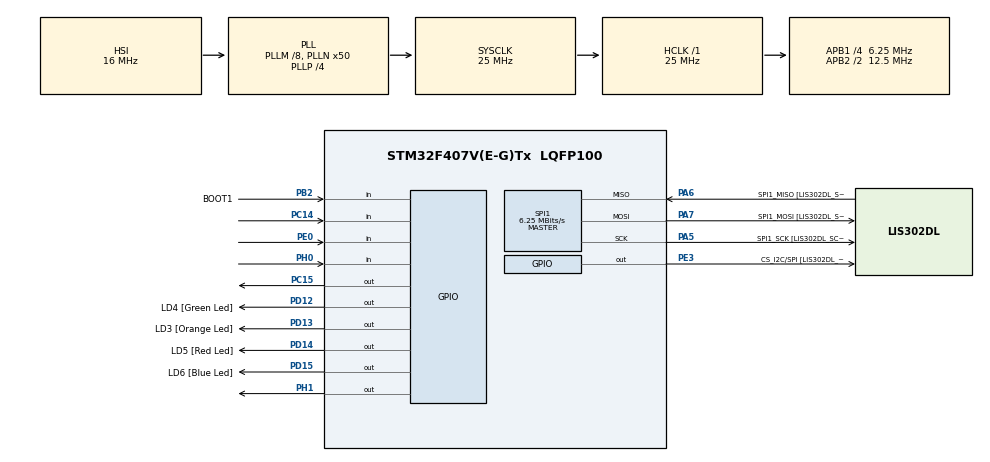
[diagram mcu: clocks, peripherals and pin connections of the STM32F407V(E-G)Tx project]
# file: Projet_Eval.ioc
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Mcu.Family=STM32F4
Mcu.Name=STM32F407V(E-G)Tx
Mcu.Package=LQFP100
NVIC.PriorityGroup=NVIC_PRIORITYGROUP_0
PA13.GPIO_Label=SWDIO
PA13.Mode=Serial_Wire
PA13.Signal=SYS_JTMS-SWDIO
PA14.GPIO_Label=SWCLK
PA14.Mode=Serial_Wire
PA14.Signal=SYS_JTCK-SWCLK
PA5.GPIO_Label=SPI1_SCK [LIS302DL_SCL/SPC]
PA5.GPIO_Mode=GPIO_MODE_AF_PP
PA5.GPIO_PuPd=GPIO_NOPULL
PA5.GPIO_Speed=GPIO_SPEED_FREQ_LOW
PA5.Mode=Full_Duplex_Master
PA5.Signal=SPI1_SCK
PA6.GPIO_Label=SPI1_MISO [LIS302DL_SDO]
PA6.GPIO_Mode=GPIO_MODE_AF_PP
PA6.GPIO_PuPd=GPIO_NOPULL
PA6.GPIO_Speed=GPIO_SPEED_FREQ_LOW
PA6.Mode=Full_Duplex_Master
PA6.Signal=SPI1_MISO
PA7.GPIO_Label=SPI1_MOSI [LIS302DL_SDA/SDI/SDO]
PA7.GPIO_Mode=GPIO_MODE_AF_PP
PA7.GPIO_PuPd=GPIO_NOPULL
PA7.GPIO_Speed=GPIO_SPEED_FREQ_LOW
PA7.Mode=Full_Duplex_Master
PA7.Signal=SPI1_MOSI
PB2.GPIO_Label=BOOT1
PB2.GPIO_Mode=GPIO_MODE_INPUT
PB2.GPIO_PuPd=GPIO_NOPULL
PB2.Signal=GPIO_Input
PB3.GPIO_Label=SWO
PB3.Signal=SYS_JTDO-SWO
PC14-OSC32_IN.Signal=GPIO_Input
PC15-OSC32_OUT.Signal=GPIO_Output
PD12.GPIO_Label=LD4 [Green Led]
PD12.GPIO_PuPd=GPIO_NOPULL
PD12.GPIO_Speed=GPIO_SPEED_FREQ_LOW
PD12.Signal=GPIO_Output
PD13.GPIO_Label=LD3 [Orange Led]
PD13.GPIO_PuPd=GPIO_NOPULL
PD13.GPIO_Speed=GPIO_SPEED_FREQ_LOW
PD13.Signal=GPIO_Output
PD14.GPIO_Label=LD5 [Red Led]
PD14.GPIO_PuPd=GPIO_NOPULL
PD14.GPIO_Speed=GPIO_SPEED_FREQ_LOW
PD14.Signal=GPIO_Output
PD15.GPIO_Label=LD6 [Blue Led]
PD15.GPIO_PuPd=GPIO_NOPULL
PD15.GPIO_Speed=GPIO_SPEED_FREQ_LOW
PD15.Signal=GPIO_Output
PE0.Signal=GPIO_Input
PE3.GPIO_Label=CS_I2C/SPI [LIS302DL_CS_I2C/SPI]
PE3.GPIO_PuPd=GPIO_NOPULL
PE3.GPIO_Speed=GPIO_SPEED_FREQ_LOW
PE3.Signal=GPIO_Output
PH0-OSC_IN.Signal=GPIO_Input
PH1-OSC_OUT.Signal=GPIO_Output
ProjectManager.HeapSize=0x200
ProjectManager.StackSize=0x400
ProjectManager.TargetToolchain=STM32CubeIDE
RCC.48MHZClocksFreq_Value=14285714.285714285
RCC.AHBFreq_Value=25000000
RCC.APB1CLKDivider=RCC_HCLK_DIV4
RCC.APB1Freq_Value=6250000
RCC.APB1TimFreq_Value=12500000
RCC.APB2CLKDivider=RCC_HCLK_DIV2
RCC.APB2Freq_Value=12500000
RCC.APB2TimFreq_Value=25000000
RCC.CortexFreq_Value=25000000
RCC.HCLKFreq_Value=25000000
RCC.HSE_VALUE=8000000
RCC.HSI_VALUE=16000000
RCC.LSE_VALUE=32768
RCC.PLLM=8
RCC.PLLN=50
RCC.PLLP=RCC_PLLP_DIV4
RCC.PLLQ=7
RCC.SYSCLKFreq_VALUE=25000000
RCC.SYSCLKSource=RCC_SYSCLKSOURCE_PLLCLK
RCC.VCOOutputFreq_Value=100000000
SPI1.BaudRatePrescaler=SPI_BAUDRATEPRESCALER_2
SPI1.CLKPolarity=SPI_POLARITY_HIGH
SPI1.CalculateBaudRate=6.25 MBits/s
SPI1.DataSize=SPI_DATASIZE_8BIT
SPI1.Direction=SPI_DIRECTION_2LINES
SPI1.Mode=SPI_MODE_MASTER
SPI1.VirtualType=VM_MASTER
board=STM32F407G-DISC1

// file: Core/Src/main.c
/* USER CODE BEGIN Header */
/**
  ******************************************************************************
  * @file           : main.c
  * @brief          : Main program body
  ******************************************************************************
  * @attention
  *
  * <h2><center>&copy; Copyright (c) 2021 STMicroelectronics.
  * All rights reserved.</center></h2>
  *
  * This software component is licensed by ST under BSD 3-Clause license,
  * the "License"; You may not use this file except in compliance with the
  * License. You may obtain a copy of the License at:
  *                        opensource.org/licenses/BSD-3-Clause
  *
  ******************************************************************************
  */
/* USER CODE END Header */
#include "main.h"
#include "YNOV_ProjetEval.h"

/* Macros for turning LEDs ON */

SPI_HandleTypeDef hspi1;

/* USER CODE BEGIN PV */
LIS3DSH_init_t LIS3DSH_initHandle;
LIS3DSH_Status_t LIS3DSH_status;
uint8_t try = 0;
float axcel = 0.0f;
/* USER CODE END PV */

void SystemClock_Config(void) ;
static void MX_GPIO_Init(void);
static void MX_SPI1_Init(void);

/* USER CODE BEGIN 0 */
int var = 0;
/* USER CODE END 0 */

int main(void)
{

  /* MCU Configuration--------------------------------------------------------*/

  /* Reset of all peripherals, Initializes the Flash interface and the Systick. */
  HAL_Init();

  /* Configure the system clock */
  SystemClock_Config();

  /* Initialize all configured peripherals */
  MX_GPIO_Init();
  MX_SPI1_Init();
  /* USER CODE BEGIN 2 */
  LIS3DSH_initHandle.ctrl4_ODR = CTRL4_ODR_800;
  LIS3DSH_initHandle.ctrl5_BW = CTRL5_BW_800;
  LIS3DSH_initHandle.ctrl5_FSCALE = CTRL5_FSCALE_2;
  LIS3DSH_initHandle.AxeX = LIS3DSH_X_ENABLED;
  LIS3DSH_initHandle.AxeY = LIS3DSH_Y_ENABLED;
  LIS3DSH_initHandle.AxeZ = LIS3DSH_Z_ENABLED;
  /* USER CODE END 2 */
  do
  {
	  try +=1;
	  LIS3DSH_status = LIS3DSH_Init(&hspi1, &LIS3DSH_initHandle);
  }while (try < 3 && LIS3DSH_status == LIS3DSH_ERROR);

  while(LIS3DSH_status == LIS3DSH_ERROR)
  {
	  HAL_GPIO_TogglePin(GPIOD, LD5_Pin);
	  HAL_Delay(500);
  }
  /* Infinite loop */
  /* USER CODE BEGIN WHILE */
  while (1)
  {
	  /*HAL_GPIO_TogglePin(GPIOD, LD4_Pin|LD3_Pin|LD5_Pin|LD6_Pin);
	  HAL_GPIO_*/
	  LIS3DSH_status == LIS3DSH_Get_Axis_X(&hspi1, &axcel);
			  if(LIS3DSH_status == LIS3DSH_OK)
			  {
				  if(axcel >= 200 )
				  {
					  HAL_GPIO_TogglePin(GPIOD, LD4_Pin);
				  }
				  else if (axcel <0) {
					  HAL_GPIO_TogglePin(GPIOD, LD3_Pin);

				}
				  else 	{
						HAL_GPIO_TogglePin(GPIOD, LD6_Pin);
						HAL_Delay(1000);

					}

			  }
			  else {
					HAL_GPIO_TogglePin(GPIOD, LD5_Pin);
					HAL_Delay(1000);
			  }
  	  }

    /* USER CODE END WHILE */

  }

void SystemClock_Config(void)
{
  RCC_OscInitTypeDef RCC_OscInitStruct = {0};
  RCC_ClkInitTypeDef RCC_ClkInitStruct = {0};

  /** Configure the main internal regulator output voltage
  */
  __HAL_RCC_PWR_CLK_ENABLE();
  __HAL_PWR_VOLTAGESCALING_CONFIG(PWR_REGULATOR_VOLTAGE_SCALE1);
  /** Initializes the RCC Oscillators according to the specified parameters
  * in the RCC_OscInitTypeDef structure.
  */
  RCC_OscInitStruct.OscillatorType = RCC_OSCILLATORTYPE_HSI;
  RCC_OscInitStruct.HSIState = RCC_HSI_ON;
  RCC_OscInitStruct.HSICalibrationValue = RCC_HSICALIBRATION_DEFAULT;
  RCC_OscInitStruct.PLL.PLLState = RCC_PLL_ON;
  RCC_OscInitStruct.PLL.PLLSource = RCC_PLLSOURCE_HSI;
  RCC_OscInitStruct.PLL.PLLM = 8;
  RCC_OscInitStruct.PLL.PLLN = 50;
  RCC_OscInitStruct.PLL.PLLP = RCC_PLLP_DIV4;
  RCC_OscInitStruct.PLL.PLLQ = 7;
  if (HAL_RCC_OscConfig(&RCC_OscInitStruct) != HAL_OK)
  {
    Error_Handler();
  }
  /** Initializes the CPU, AHB and APB buses clocks
  */
  RCC_ClkInitStruct.ClockType = RCC_CLOCKTYPE_HCLK|RCC_CLOCKTYPE_SYSCLK
                              |RCC_CLOCKTYPE_PCLK1|RCC_CLOCKTYPE_PCLK2;
  RCC_ClkInitStruct.SYSCLKSource = RCC_SYSCLKSOURCE_PLLCLK;
  RCC_ClkInitStruct.AHBCLKDivider = RCC_SYSCLK_DIV1;
  RCC_ClkInitStruct.APB1CLKDivider = RCC_HCLK_DIV4;
  RCC_ClkInitStruct.APB2CLKDivider = RCC_HCLK_DIV2;

  if (HAL_RCC_ClockConfig(&RCC_ClkInitStruct, FLASH_LATENCY_0) != HAL_OK)
  {
    Error_Handler();
  }
}

static void MX_SPI1_Init(void)
{

  /* SPI1 parameter configuration*/
  hspi1.Instance = SPI1;
  hspi1.Init.Mode = SPI_MODE_MASTER;
  hspi1.Init.Direction = SPI_DIRECTION_2LINES;
  hspi1.Init.DataSize = SPI_DATASIZE_8BIT;
  hspi1.Init.CLKPolarity = SPI_POLARITY_HIGH;
  hspi1.Init.CLKPhase = SPI_PHASE_1EDGE;
  hspi1.Init.NSS = SPI_NSS_SOFT;
  hspi1.Init.BaudRatePrescaler = SPI_BAUDRATEPRESCALER_2;
  hspi1.Init.FirstBit = SPI_FIRSTBIT_MSB;
  hspi1.Init.TIMode = SPI_TIMODE_DISABLE;
  hspi1.Init.CRCCalculation = SPI_CRCCALCULATION_DISABLE;
  hspi1.Init.CRCPolynomial = 10;
  if (HAL_SPI_Init(&hspi1) != HAL_OK)
  {
    Error_Handler();
  }

}

static void MX_GPIO_Init(void)
{
  GPIO_InitTypeDef GPIO_InitStruct = {0};

  /* GPIO Ports Clock Enable */
  __HAL_RCC_GPIOE_CLK_ENABLE();
  __HAL_RCC_GPIOC_CLK_ENABLE();
  __HAL_RCC_GPIOH_CLK_ENABLE();
  __HAL_RCC_GPIOA_CLK_ENABLE();
  __HAL_RCC_GPIOB_CLK_ENABLE();
  __HAL_RCC_GPIOD_CLK_ENABLE();

  /*Configure GPIO pin Output Level */
  HAL_GPIO_WritePin(CS_I2C_SPI_GPIO_Port, CS_I2C_SPI_Pin, GPIO_PIN_RESET);

  /*Configure GPIO pin Output Level */
  HAL_GPIO_WritePin(GPIOC, GPIO_PIN_15, GPIO_PIN_RESET);

  /*Configure GPIO pin Output Level */
  HAL_GPIO_WritePin(GPIOH, GPIO_PIN_1, GPIO_PIN_RESET);

  /*Configure GPIO pin Output Level */
  HAL_GPIO_WritePin(GPIOD, LD4_Pin|LD3_Pin|LD5_Pin|LD6_Pin, GPIO_PIN_RESET);

  /*Configure GPIO pin : CS_I2C_SPI_Pin */
  GPIO_InitStruct.Pin = CS_I2C_SPI_Pin;
  GPIO_InitStruct.Mode = GPIO_MODE_OUTPUT_PP;
  GPIO_InitStruct.Pull = GPIO_NOPULL;
  GPIO_InitStruct.Speed = GPIO_SPEED_FREQ_LOW;
  HAL_GPIO_Init(CS_I2C_SPI_GPIO_Port, &GPIO_InitStruct);

  /*Configure GPIO pin : PC14 */
  GPIO_InitStruct.Pin = GPIO_PIN_14;
  GPIO_InitStruct.Mode = GPIO_MODE_INPUT;
  GPIO_InitStruct.Pull = GPIO_NOPULL;
  HAL_GPIO_Init(GPIOC, &GPIO_InitStruct);

  /*Configure GPIO pin : PC15 */
  GPIO_InitStruct.Pin = GPIO_PIN_15;
  GPIO_InitStruct.Mode = GPIO_MODE_OUTPUT_PP;
  GPIO_InitStruct.Pull = GPIO_NOPULL;
  GPIO_InitStruct.Speed = GPIO_SPEED_FREQ_LOW;
  HAL_GPIO_Init(GPIOC, &GPIO_InitStruct);

  /*Configure GPIO pin : PH0 */
  GPIO_InitStruct.Pin = GPIO_PIN_0;
  GPIO_InitStruct.Mode = GPIO_MODE_INPUT;
  GPIO_InitStruct.Pull = GPIO_NOPULL;
  HAL_GPIO_Init(GPIOH, &GPIO_InitStruct);

  /*Configure GPIO pin : PH1 */
  GPIO_InitStruct.Pin = GPIO_PIN_1;
  GPIO_InitStruct.Mode = GPIO_MODE_OUTPUT_PP;
  GPIO_InitStruct.Pull = GPIO_NOPULL;
  GPIO_InitStruct.Speed = GPIO_SPEED_FREQ_LOW;
  HAL_GPIO_Init(GPIOH, &GPIO_InitStruct);

  /*Configure GPIO pin : BOOT1_Pin */
  GPIO_InitStruct.Pin = BOOT1_Pin;
  GPIO_InitStruct.Mode = GPIO_MODE_INPUT;
  GPIO_InitStruct.Pull = GPIO_NOPULL;
  HAL_GPIO_Init(BOOT1_GPIO_Port, &GPIO_InitStruct);

  /*Configure GPIO pins : LD4_Pin LD3_Pin LD5_Pin LD6_Pin */
  GPIO_InitStruct.Pin = LD4_Pin|LD3_Pin|LD5_Pin|LD6_Pin;
  GPIO_InitStruct.Mode = GPIO_MODE_OUTPUT_PP;
  GPIO_InitStruct.Pull = GPIO_NOPULL;
  GPIO_InitStruct.Speed = GPIO_SPEED_FREQ_LOW;
  HAL_GPIO_Init(GPIOD, &GPIO_InitStruct);

  /*Configure GPIO pin : PE0 */
  GPIO_InitStruct.Pin = GPIO_PIN_0;
  GPIO_InitStruct.Mode = GPIO_MODE_INPUT;
  GPIO_InitStruct.Pull = GPIO_NOPULL;
  HAL_GPIO_Init(GPIOE, &GPIO_InitStruct);

}

void Error_Handler(void)
{
}

/************************ (C) COPYRIGHT STMicroelectronics *****END OF FILE****/
